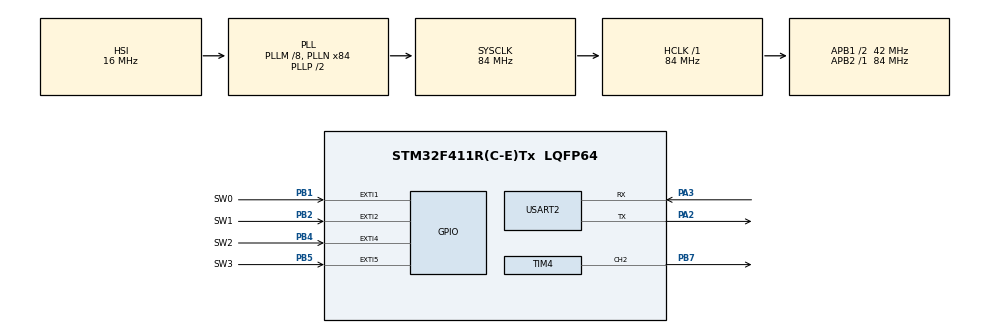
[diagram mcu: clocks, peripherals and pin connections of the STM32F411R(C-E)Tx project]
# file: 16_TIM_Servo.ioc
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Mcu.Family=STM32F4
Mcu.Name=STM32F411R(C-E)Tx
Mcu.Package=LQFP64
NVIC.EXTI1_IRQn=true\:0\:0\:false\:false\:true\:true\:true\:true
NVIC.EXTI2_IRQn=true\:0\:0\:false\:false\:true\:true\:true\:true
NVIC.EXTI4_IRQn=true\:0\:0\:false\:false\:true\:true\:true\:true
NVIC.EXTI9_5_IRQn=true\:0\:0\:false\:false\:true\:true\:true\:true
NVIC.PriorityGroup=NVIC_PRIORITYGROUP_4
PA13.Mode=Serial_Wire
PA13.Signal=SYS_JTMS-SWDIO
PA14.Mode=Serial_Wire
PA14.Signal=SYS_JTCK-SWCLK
PA2.Mode=Asynchronous
PA2.Signal=USART2_TX
PA3.Mode=Asynchronous
PA3.Signal=USART2_RX
PB1.GPIO_Label=SW0
PB1.Signal=GPXTI1
PB2.GPIO_Label=SW1
PB2.Signal=GPXTI2
PB4.GPIO_Label=SW2
PB4.Signal=GPXTI4
PB5.GPIO_Label=SW3
PB5.Signal=GPXTI5
PB7.Signal=S_TIM4_CH2
ProjectManager.HeapSize=0x200
ProjectManager.StackSize=0x400
ProjectManager.TargetToolchain=STM32CubeIDE
RCC.48MHZClocksFreq_Value=42000000
RCC.AHBFreq_Value=84000000
RCC.APB1CLKDivider=RCC_HCLK_DIV2
RCC.APB1Freq_Value=42000000
RCC.APB1TimFreq_Value=84000000
RCC.APB2Freq_Value=84000000
RCC.APB2TimFreq_Value=84000000
RCC.CortexFreq_Value=84000000
RCC.HCLKFreq_Value=84000000
RCC.HSE_VALUE=25000000
RCC.HSI_VALUE=16000000
RCC.LSE_VALUE=32768
RCC.PLLM=8
RCC.PLLN=84
RCC.SYSCLKFreq_VALUE=84000000
RCC.SYSCLKSource=RCC_SYSCLKSOURCE_PLLCLK
RCC.VCOOutputFreq_Value=168000000
SH.S_TIM4_CH2.0=TIM4_CH2,PWM Generation2 CH2
TIM4.Channel-PWM\ Generation2\ CH2=TIM_CHANNEL_2
TIM4.OCPolarity_2=TIM_OCPOLARITY_LOW
TIM4.Period=19999
TIM4.Prescaler=83
TIM4.Pulse-PWM\ Generation2\ CH2=1500
USART2.VirtualMode=VM_ASYNC
VP_TIM4_VS_ClockSourceINT.Mode=Internal
board=custom

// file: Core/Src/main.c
/* USER CODE BEGIN Header */
/**
  ******************************************************************************
  * @file           : main.c
  * @brief          : Main program body
  ******************************************************************************
  * @attention
  *
  * Copyright (c) 2024 STMicroelectronics.
  * All rights reserved.
  *
  * This software is licensed under terms that can be found in the LICENSE file
  * in the root directory of this software component.
  * If no LICENSE file comes with this software, it is provided AS-IS.
  *
  ******************************************************************************
  */
/* USER CODE END Header */
#include "main.h"

TIM_HandleTypeDef htim4;

UART_HandleTypeDef huart2;

void SystemClock_Config(void);
static void MX_GPIO_Init(void);
static void MX_TIM4_Init(void);
static void MX_USART2_UART_Init(void);

int main(void)
{

  /* MCU Configuration--------------------------------------------------------*/

  /* Reset of all peripherals, Initializes the Flash interface and the Systick. */
  HAL_Init();

  /* Configure the system clock */
  SystemClock_Config();

  /* Initialize all configured peripherals */
  MX_GPIO_Init();
  MX_TIM4_Init();
  MX_USART2_UART_Init();
  /* USER CODE BEGIN 2 */
  HAL_TIM_PWM_Start(&htim4, TIM_CHANNEL_2);
  /* USER CODE END 2 */

  /* Infinite loop */
  while (1)
  {

  }
}

void SystemClock_Config(void)
{
  RCC_OscInitTypeDef RCC_OscInitStruct = {0};
  RCC_ClkInitTypeDef RCC_ClkInitStruct = {0};

  /** Configure the main internal regulator output voltage
  */
  __HAL_RCC_PWR_CLK_ENABLE();
  __HAL_PWR_VOLTAGESCALING_CONFIG(PWR_REGULATOR_VOLTAGE_SCALE1);

  /** Initializes the RCC Oscillators according to the specified parameters
  * in the RCC_OscInitTypeDef structure.
  */
  RCC_OscInitStruct.OscillatorType = RCC_OSCILLATORTYPE_HSI;
  RCC_OscInitStruct.HSIState = RCC_HSI_ON;
  RCC_OscInitStruct.HSICalibrationValue = RCC_HSICALIBRATION_DEFAULT;
  RCC_OscInitStruct.PLL.PLLState = RCC_PLL_ON;
  RCC_OscInitStruct.PLL.PLLSource = RCC_PLLSOURCE_HSI;
  RCC_OscInitStruct.PLL.PLLM = 8;
  RCC_OscInitStruct.PLL.PLLN = 84;
  RCC_OscInitStruct.PLL.PLLP = RCC_PLLP_DIV2;
  RCC_OscInitStruct.PLL.PLLQ = 4;
  if (HAL_RCC_OscConfig(&RCC_OscInitStruct) != HAL_OK)
  {
    Error_Handler();
  }

  /** Initializes the CPU, AHB and APB buses clocks
  */
  RCC_ClkInitStruct.ClockType = RCC_CLOCKTYPE_HCLK|RCC_CLOCKTYPE_SYSCLK
                              |RCC_CLOCKTYPE_PCLK1|RCC_CLOCKTYPE_PCLK2;
  RCC_ClkInitStruct.SYSCLKSource = RCC_SYSCLKSOURCE_PLLCLK;
  RCC_ClkInitStruct.AHBCLKDivider = RCC_SYSCLK_DIV1;
  RCC_ClkInitStruct.APB1CLKDivider = RCC_HCLK_DIV2;
  RCC_ClkInitStruct.APB2CLKDivider = RCC_HCLK_DIV1;

  if (HAL_RCC_ClockConfig(&RCC_ClkInitStruct, FLASH_LATENCY_2) != HAL_OK)
  {
    Error_Handler();
  }
}

static void MX_TIM4_Init(void)
{

  TIM_ClockConfigTypeDef sClockSourceConfig = {0};
  TIM_MasterConfigTypeDef sMasterConfig = {0};
  TIM_OC_InitTypeDef sConfigOC = {0};

  htim4.Instance = TIM4;
  htim4.Init.Prescaler = 83;
  htim4.Init.CounterMode = TIM_COUNTERMODE_UP;
  htim4.Init.Period = 19999;
  htim4.Init.ClockDivision = TIM_CLOCKDIVISION_DIV1;
  htim4.Init.AutoReloadPreload = TIM_AUTORELOAD_PRELOAD_DISABLE;
  if (HAL_TIM_Base_Init(&htim4) != HAL_OK)
  {
    Error_Handler();
  }
  sClockSourceConfig.ClockSource = TIM_CLOCKSOURCE_INTERNAL;
  if (HAL_TIM_ConfigClockSource(&htim4, &sClockSourceConfig) != HAL_OK)
  {
    Error_Handler();
  }
  if (HAL_TIM_PWM_Init(&htim4) != HAL_OK)
  {
    Error_Handler();
  }
  sMasterConfig.MasterOutputTrigger = TIM_TRGO_RESET;
  sMasterConfig.MasterSlaveMode = TIM_MASTERSLAVEMODE_DISABLE;
  if (HAL_TIMEx_MasterConfigSynchronization(&htim4, &sMasterConfig) != HAL_OK)
  {
    Error_Handler();
  }
  sConfigOC.OCMode = TIM_OCMODE_PWM1;
  sConfigOC.Pulse = 1500;
  sConfigOC.OCPolarity = TIM_OCPOLARITY_LOW;
  sConfigOC.OCFastMode = TIM_OCFAST_DISABLE;
  if (HAL_TIM_PWM_ConfigChannel(&htim4, &sConfigOC, TIM_CHANNEL_2) != HAL_OK)
  {
    Error_Handler();
  }
  HAL_TIM_MspPostInit(&htim4);

}

static void MX_USART2_UART_Init(void)
{

  huart2.Instance = USART2;
  huart2.Init.BaudRate = 115200;
  huart2.Init.WordLength = UART_WORDLENGTH_8B;
  huart2.Init.StopBits = UART_STOPBITS_1;
  huart2.Init.Parity = UART_PARITY_NONE;
  huart2.Init.Mode = UART_MODE_TX_RX;
  huart2.Init.HwFlowCtl = UART_HWCONTROL_NONE;
  huart2.Init.OverSampling = UART_OVERSAMPLING_16;
  if (HAL_UART_Init(&huart2) != HAL_OK)
  {
    Error_Handler();
  }

}

static void MX_GPIO_Init(void)
{
  GPIO_InitTypeDef GPIO_InitStruct = {0};

  /* GPIO Ports Clock Enable */
  __HAL_RCC_GPIOA_CLK_ENABLE();
  __HAL_RCC_GPIOB_CLK_ENABLE();

  /*Configure GPIO pins : SW0_Pin SW1_Pin SW2_Pin SW3_Pin */
  GPIO_InitStruct.Pin = SW0_Pin|SW1_Pin|SW2_Pin|SW3_Pin;
  GPIO_InitStruct.Mode = GPIO_MODE_IT_RISING;
  GPIO_InitStruct.Pull = GPIO_NOPULL;
  HAL_GPIO_Init(GPIOB, &GPIO_InitStruct);

  /* EXTI interrupt init*/
  HAL_NVIC_SetPriority(EXTI1_IRQn, 0, 0);
  HAL_NVIC_EnableIRQ(EXTI1_IRQn);

  HAL_NVIC_SetPriority(EXTI2_IRQn, 0, 0);
  HAL_NVIC_EnableIRQ(EXTI2_IRQn);

  HAL_NVIC_SetPriority(EXTI4_IRQn, 0, 0);
  HAL_NVIC_EnableIRQ(EXTI4_IRQn);

  HAL_NVIC_SetPriority(EXTI9_5_IRQn, 0, 0);
  HAL_NVIC_EnableIRQ(EXTI9_5_IRQn);

}

/* USER CODE BEGIN 4 */
void HAL_GPIO_EXTI_Callback(uint16_t GPIO_Pin)
{
	switch (GPIO_Pin)
	    {
	    case GPIO_PIN_1:  // SW0
	      __HAL_TIM_SET_COMPARE(&htim4, TIM_CHANNEL_2, 1000); // position -90°
	      break;

	    case GPIO_PIN_2:  // SW1
	      __HAL_TIM_SET_COMPARE(&htim4, TIM_CHANNEL_2, 1500); // position 0°
	      break;

	    case GPIO_PIN_4:  // SW2
	      __HAL_TIM_SET_COMPARE(&htim4, TIM_CHANNEL_2, 1750); // position 45°
	      break;

	    case GPIO_PIN_5:  // SW3
	      __HAL_TIM_SET_COMPARE(&htim4, TIM_CHANNEL_2, 2000); // position 90°
	      break;

	    default:
	      ;
	    }
}
/* USER CODE END 4 */

void Error_Handler(void)
{
  __disable_irq();
  while (1)
  {
  }
}
